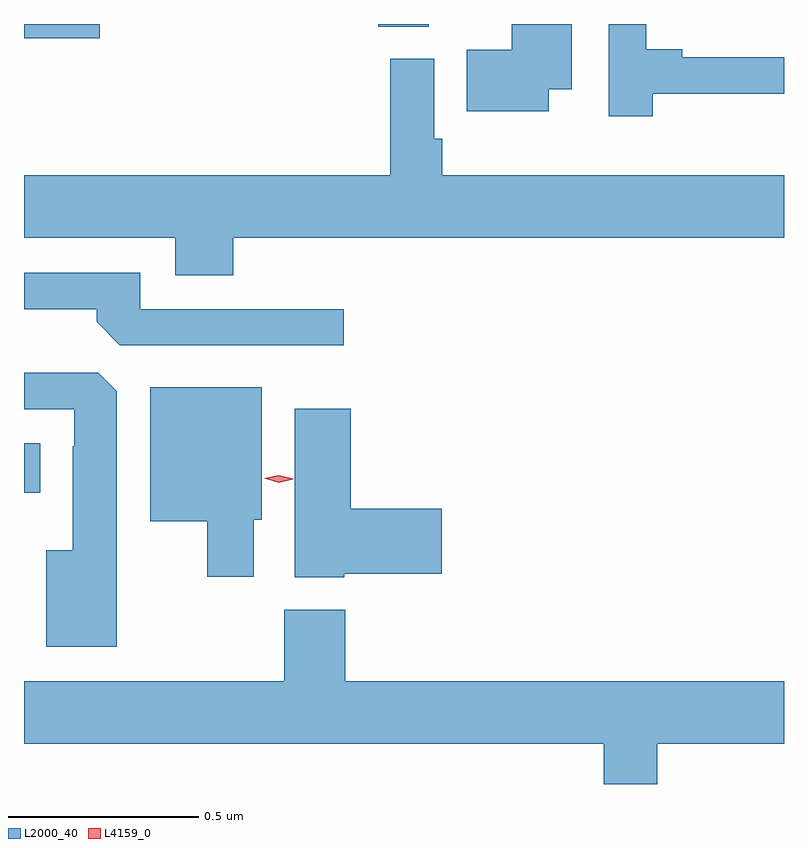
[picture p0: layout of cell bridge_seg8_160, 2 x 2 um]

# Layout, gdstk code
import gdstk
lib = gdstk.Library(unit=1e-6, precision=1e-09)
def R(c, l, rs):  # rectangles x0, y0, x1, y1
    for r in rs: c.add(gdstk.rectangle(r[:2], r[2:], *l))
def P(c, l, *ps):  # polygons
    for p in ps: c.add(gdstk.Polygon(p, *l))
L2000_40 = (2000, 40)
L4159_0 = (4159, 0)

bridge_seg8_160 = lib.new_cell('bridge_seg8_160')
R(bridge_seg8_160, L2000_40, [(532.047,1149.128,532.09,1149.259), (532.047,1150.324,532.246,1150.362), (532.979,1150.355,533.112,1150.362)])
P(bridge_seg8_160, L2000_40, [(533.702,1150.178),(534.047,1150.178),(534.047,1150.275),(533.779,1150.275),(533.779,1150.295),(533.684,1150.295),(533.684,1150.362),(533.586,1150.362),(533.586,1150.119),(533.702,1150.119)],
  [(533.428,1150.19),(533.488,1150.19),(533.488,1150.362),(533.33,1150.362),(533.33,1150.294),(533.212,1150.294),(533.212,1150.133),(533.428,1150.133)],
  [(532.598,1149.8),(534.047,1149.8),(534.047,1149.964),(533.147,1149.964),(533.147,1150.06),(533.127,1150.06),(533.127,1150.27),(533.011,1150.27),(533.011,1149.964),(532.047,1149.964),(532.047,1149.8),(532.445,1149.8),(532.445,1149.701),(532.598,1149.701)],
  [(532.888,1149.612),(532.353,1149.612),(532.353,1149.708),(532.047,1149.708),(532.047,1149.612),(532.238,1149.612),(532.238,1149.578),(532.299,1149.516),(532.888,1149.516)],
  [(532.291,1149.395),(532.242,1149.444),(532.047,1149.444),(532.047,1149.348),(532.179,1149.348),(532.179,1149.251),(532.175,1149.251),(532.175,1148.977),(532.106,1148.977),(532.106,1148.723),(532.291,1148.723)],
  [(532.651,1149.057),(532.672,1149.057),(532.672,1149.406),(532.379,1149.406),(532.379,1149.053),(532.529,1149.053),(532.529,1148.907),(532.651,1148.907)],
  [(532.89,1148.915),(533.146,1148.915),(533.146,1149.086),(532.907,1149.086),(532.907,1149.349),(532.76,1149.349),(532.76,1148.906),(532.89,1148.906)],
  [(533.713,1148.468),(534.047,1148.468),(534.047,1148.632),(532.892,1148.632),(532.892,1148.821),(532.732,1148.821),(532.732,1148.632),(532.047,1148.632),(532.047,1148.468),(533.573,1148.468),(533.573,1148.362),(533.713,1148.362)])
P(bridge_seg8_160, L4159_0, [(532.717,1149.155),(532.679,1149.166),(532.678,1149.166),(532.679,1149.166),(532.717,1149.175),(532.755,1149.165),(532.755,1149.164),(532.755,1149.164)])

lib.write_gds('bridge_seg8_160.gds')
